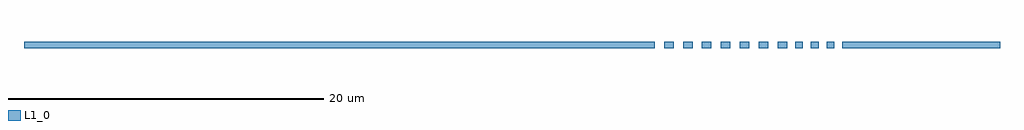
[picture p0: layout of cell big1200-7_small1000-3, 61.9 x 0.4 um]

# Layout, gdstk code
import gdstk
lib = gdstk.Library(unit=1e-6, precision=1e-09)
def R(c, l, rs):  # rectangles x0, y0, x1, y1
    for r in rs: c.add(gdstk.rectangle(r[:2], r[2:], *l))
def A(c, l, x, y, w, h, nx, ny, dx, dy):  # array of equal rectangles
    R(c, l, [(x+i*dx, y+j*dy, x+i*dx+w, y+j*dy+h) for i in range(nx) for j in range(ny)])
L1_0 = (1, 0)

big1200_7_small1000_3 = lib.new_cell('big1200-7_small1000-3')
A(big1200_7_small1000_3, L1_0, 0.6, 0, 0.6, 0.4, 7, 1, 1.2, 0)
A(big1200_7_small1000_3, L1_0, 8.9, 0, 0.5, 0.4, 3, 1, 1, 0)
R(big1200_7_small1000_3, L1_0, [(-40,0,0,0.4), (11.9,0,21.9,0.4)])

lib.write_gds('big1200-7_small1000-3.gds')
